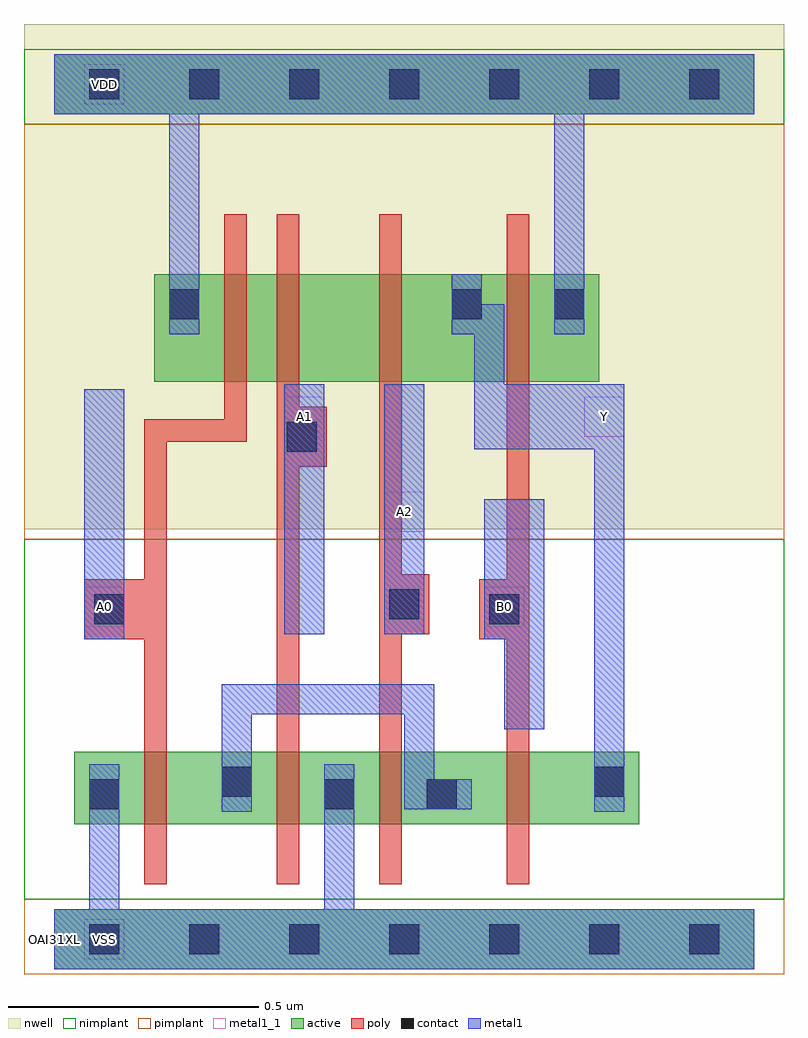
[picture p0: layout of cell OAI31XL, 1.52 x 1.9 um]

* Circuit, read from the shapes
.subckt OAI31XL A0 A1 A2 B0 VDD VSS Y
M1 n1 A0 VSS VSS nfet w=0.145u l=0.045u
M2 VSS A1 n1 VSS nfet w=0.145u l=0.045u
M3 n1 A2 VSS VSS nfet w=0.145u l=0.045u
M4 Y B0 n1 VSS nfet w=0.145u l=0.045u
M5 n2 A0 VDD VDD pfet w=0.215u l=0.045u
M6 n3 A1 n2 VDD pfet w=0.215u l=0.045u
M7 Y A2 n3 VDD pfet w=0.215u l=0.045u
M8 VDD B0 Y VDD pfet w=0.215u l=0.045u
.ends

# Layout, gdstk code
import gdstk
lib = gdstk.Library(unit=1e-6, precision=5e-10)
def R(c, l, rs):  # rectangles x0, y0, x1, y1
    for r in rs: c.add(gdstk.rectangle(r[:2], r[2:], *l))
def A(c, l, x, y, w, h, nx, ny, dx, dy):  # array of equal rectangles
    R(c, l, [(x+i*dx, y+j*dy, x+i*dx+w, y+j*dy+h) for i in range(nx) for j in range(ny)])
def P(c, l, *ps):  # polygons
    for p in ps: c.add(gdstk.Polygon(p, *l))
active = (1, 0)
nwell = (2, 0)
poly = (3, 0)
nimplant = (4, 0)
pimplant = (5, 0)
contact = (6, 0)
metal1 = (7, 0)
metal1_1 = (7, 1)

oai31xl = lib.new_cell('OAI31XL')
R(oai31xl, active, [(0,-0.06,1.4,0.06), (0.04,0.23,1.17,0.375), (0.2,1.115,1.09,1.33), (0,1.65,1.4,1.77)])
R(oai31xl, nwell, [(-0.06,0.82,1.46,1.83)])
P(oai31xl, poly, [(0.34,1.45),(0.385,1.45),(0.385,0.995),(0.225,0.995),(0.225,0.11),(0.18,0.11),(0.18,0.6),(0.06,0.6),(0.06,0.72),(0.18,0.72),(0.18,1.04),(0.34,1.04)],
  [(0.445,1.45),(0.49,1.45),(0.49,1.065),(0.545,1.065),(0.545,0.945),(0.49,0.945),(0.49,0.11),(0.445,0.11)],
  [(0.65,1.45),(0.695,1.45),(0.695,0.73),(0.75,0.73),(0.75,0.61),(0.695,0.61),(0.695,0.11),(0.65,0.11)],
  [(0.905,1.45),(0.95,1.45),(0.95,0.11),(0.905,0.11),(0.905,0.6),(0.85,0.6),(0.85,0.72),(0.905,0.72)])
R(oai31xl, nimplant, [(-0.06,0.08,1.46,0.8), (-0.06,1.63,1.46,1.78)])
R(oai31xl, pimplant, [(-0.06,-0.07,1.46,0.08), (-0.06,0.8,1.46,1.63)])
A(oai31xl, contact, 0.07, -0.03, 0.06, 0.06, 7, 2, 0.2, 1.71)
R(oai31xl, contact, [(0.07,0.26,0.13,0.32), (0.54,0.26,0.6,0.32), (0.745,0.26,0.805,0.32), (0.335,0.285,0.395,0.345), (1.08,0.285,1.14,0.345), (0.08,0.63,0.14,0.69), (0.87,0.63,0.93,0.69), (0.67,0.64,0.73,0.7), (0.465,0.975,0.525,1.035), (0.23,1.24,0.29,1.3), (0.795,1.24,0.855,1.3), (1,1.24,1.06,1.3)])
R(oai31xl, metal1, [(0.06,0.6,0.14,1.1), (0.46,0.61,0.54,1.11), (0.66,0.61,0.74,1.11)])
P(oai31xl, metal1, [(0.335,0.51),(0.76,0.51),(0.76,0.32),(0.835,0.32),(0.835,0.26),(0.7,0.26),(0.7,0.45),(0.395,0.45),(0.395,0.255),(0.335,0.255)],
  [(0.07,0.35),(0.13,0.35),(0.13,0.06),(0.54,0.06),(0.54,0.35),(0.6,0.35),(0.6,0.06),(1.4,0.06),(1.4,-0.06),(0,-0.06),(0,0.06),(0.07,0.06)],
  [(0,1.77),(1.4,1.77),(1.4,1.65),(1.06,1.65),(1.06,1.21),(1,1.21),(1,1.65),(0.29,1.65),(0.29,1.21),(0.23,1.21),(0.23,1.65),(0,1.65)],
  [(0.795,1.33),(0.855,1.33),(0.855,1.27),(0.9,1.27),(0.9,1.11),(1.14,1.11),(1.14,0.255),(1.08,0.255),(1.08,0.98),(0.84,0.98),(0.84,1.21),(0.795,1.21)],
  [(0.86,0.88),(0.98,0.88),(0.98,0.42),(0.9,0.42),(0.9,0.6),(0.86,0.6)])
R(oai31xl, metal1_1, [(0.06,-0.04,0.14,0.04), (0.06,0.625,0.14,0.705), (0.86,0.625,0.94,0.705), (0.66,0.815,0.74,0.895), (0.46,1.005,0.54,1.085), (1.06,1.005,1.14,1.085), (0.06,1.67,0.14,1.75)])
oai31xl.add(gdstk.Label('Y', (1.1,1.045), layer=7, texttype=1))
oai31xl.add(gdstk.Label('A1', (0.5,1.045), layer=7, texttype=1))
oai31xl.add(gdstk.Label('A0', (0.1,0.665), layer=7, texttype=1))
oai31xl.add(gdstk.Label('B0', (0.9,0.665), layer=7, texttype=1))
oai31xl.add(gdstk.Label('A2', (0.7,0.855), layer=7, texttype=1))
oai31xl.add(gdstk.Label('VDD', (0.1,1.71), layer=7, texttype=1))
oai31xl.add(gdstk.Label('VSS', (0.1,0), layer=7, texttype=1))
oai31xl.add(gdstk.Label('OAI31XL', (0,0), layer=63, texttype=0))

lib.write_gds('OAI31XL.gds')
